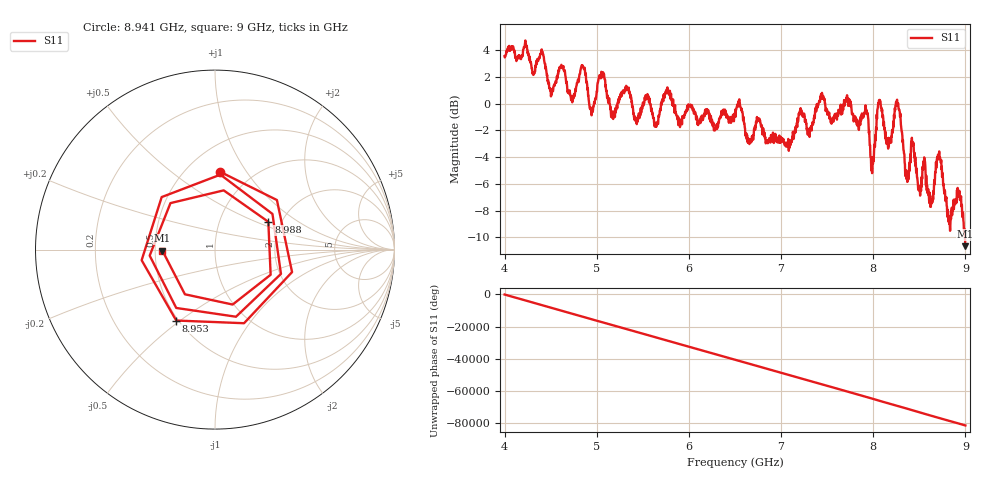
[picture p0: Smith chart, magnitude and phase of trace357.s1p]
! Created with skrf 1.8.0 (http://scikit-rf.org).
# Hz S RI R 50.0
!freq ReS11 ImS11
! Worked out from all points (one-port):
!   1601 points, 4 GHz to 9 GHz, reference 50 ohm
!   lowest |S11| = -10.7 dB at 9 GHz (marker M1), VSWR 1.83, Z = 27.3 - j0.373 ohm
!   |S11| at or under -10 dB: 8.994722 GHz to end of sweep
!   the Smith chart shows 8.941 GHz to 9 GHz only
!   S11 on the Smith chart (normalised r, x): 8.941 GHz: 0.71, +0.76; 8.953 GHz: 0.49, -0.48; 8.988 GHz: 1.71, +0.60; 9 GHz: 0.55, -0.01
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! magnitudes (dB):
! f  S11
! 4 GHz  3.6
! 4.403 GHz  4.1
! 4.509 GHz  0.7
! 4.625 GHz  2.8
! 4.738 GHz  0.2
! 4.856 GHz  2.7
! 4.941 GHz  -0.8
! 5.053 GHz  2.1
! 5.172 GHz  -0.9
! 5.25 GHz  0.5
! 5.875 GHz  -1.0
! 6.5 GHz  -0.9
! 7.125 GHz  -2.7
! 7.75 GHz  -0.2
! 7.925 GHz  -0.4
! 7.994 GHz  -4.2
! 8.062 GHz  0.3
! 8.169 GHz  -3.2
! 8.266 GHz  -0.1
! 8.375 GHz  -5.8
! 8.434 GHz  -2.9
! 8.631 GHz  -7.5
! 8.712 GHz  -3.9
! 8.822 GHz  -8.4
! 8.941 GHz  -7.2
! 8.953 GHz  -6.9
! 8.988 GHz  -9.5
! 9 GHz  -10.7
